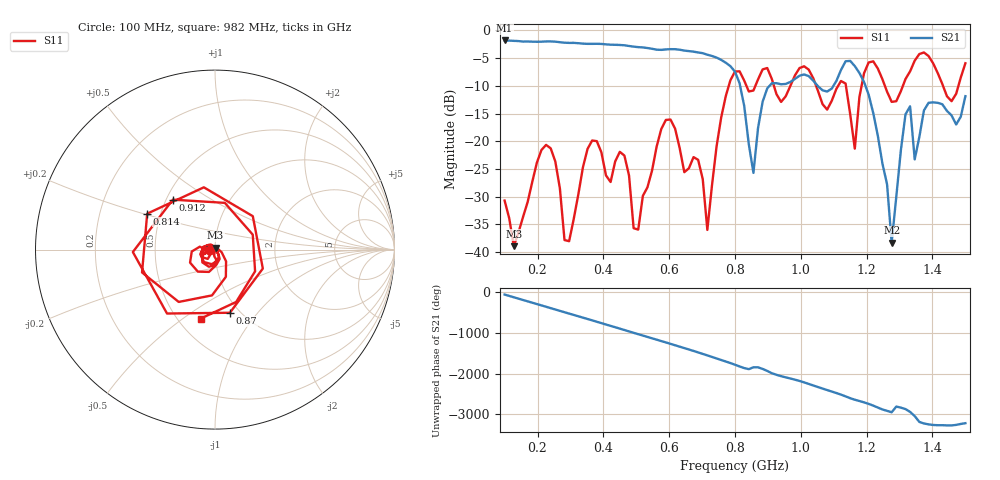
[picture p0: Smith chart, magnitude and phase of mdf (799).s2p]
! NanoVNA-App
! Date: 2025-09-25 15:44:38
! Start: 100MHz Stop: 1,5GHz Points: 101
! S-Parameter data: F S11 S21 S12 S22
# Hz S RI R 50
!  Frequency  S11_Real  S11_Imag  S21_Real  S21_Imag  S12_Real  S12_Imag  S22_Real  S22_Imag
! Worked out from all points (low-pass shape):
!   101 points, 100 MHz to 1.5 GHz, reference 50 ohm
!   highest |S21| = -1.80 dB at 100 MHz (marker M1); lowest = -38.3 dB at 1.276 GHz (marker M2)
!   |S21| within 3 dB of the highest: start of sweep to 739.5 MHz
!   lowest |S11| = -39.0 dB at 128 MHz (marker M3), VSWR 1.02, Z = 50.3 + j1.08 ohm
!   |S11| at or under -10 dB: start of sweep to 781.1 MHz; 918.3 MHz to 968.3 MHz (50.03 MHz wide, 5.3 % of centre); 1.046 GHz to 1.113 GHz (67.06 MHz wide, 6.21 % of centre)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
!   S12 and S22 are empty: the file has one direction only
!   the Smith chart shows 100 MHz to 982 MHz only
!   S11 on the Smith chart (normalised r, x): 100 MHz: 0.94, -0.01; 814 MHz: 0.42, +0.21; 870 MHz: 0.90, -0.73; 912 MHz: 0.54, +0.35; 982 MHz: 0.64, -0.59
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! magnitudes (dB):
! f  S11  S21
! 100 MHz  -30.7  -1.8
! 128 MHz  -39.0  -1.9
! 212 MHz  -21.6  -2.0
! 282 MHz  -37.9  -2.2
! 338 MHz  -24.7  -2.4
! 464 MHz  -22.6  -2.7
! 506 MHz  -36.0  -3.0
! 576 MHz  -17.8  -3.5
! 688 MHz  -23.4  -4.0
! 716 MHz  -36.0  -4.4
! 800 MHz  -7.4  -7.4
! 814 MHz  -7.4  -9.6
! 856 MHz  -10.9  -25.7
! 870 MHz  -8.8  -17.6
! 912 MHz  -8.8  -9.5
! 982 MHz  -8.1  -8.8
! 1.038 GHz  -8.7  -9.1
! 1.164 GHz  -21.4  -6.4
! 1.192 GHz  -7.7  -9.3
! 1.276 GHz  -12.9  -38.3
! 1.318 GHz  -8.8  -15.1
! 1.5 GHz  -5.9  -11.9
